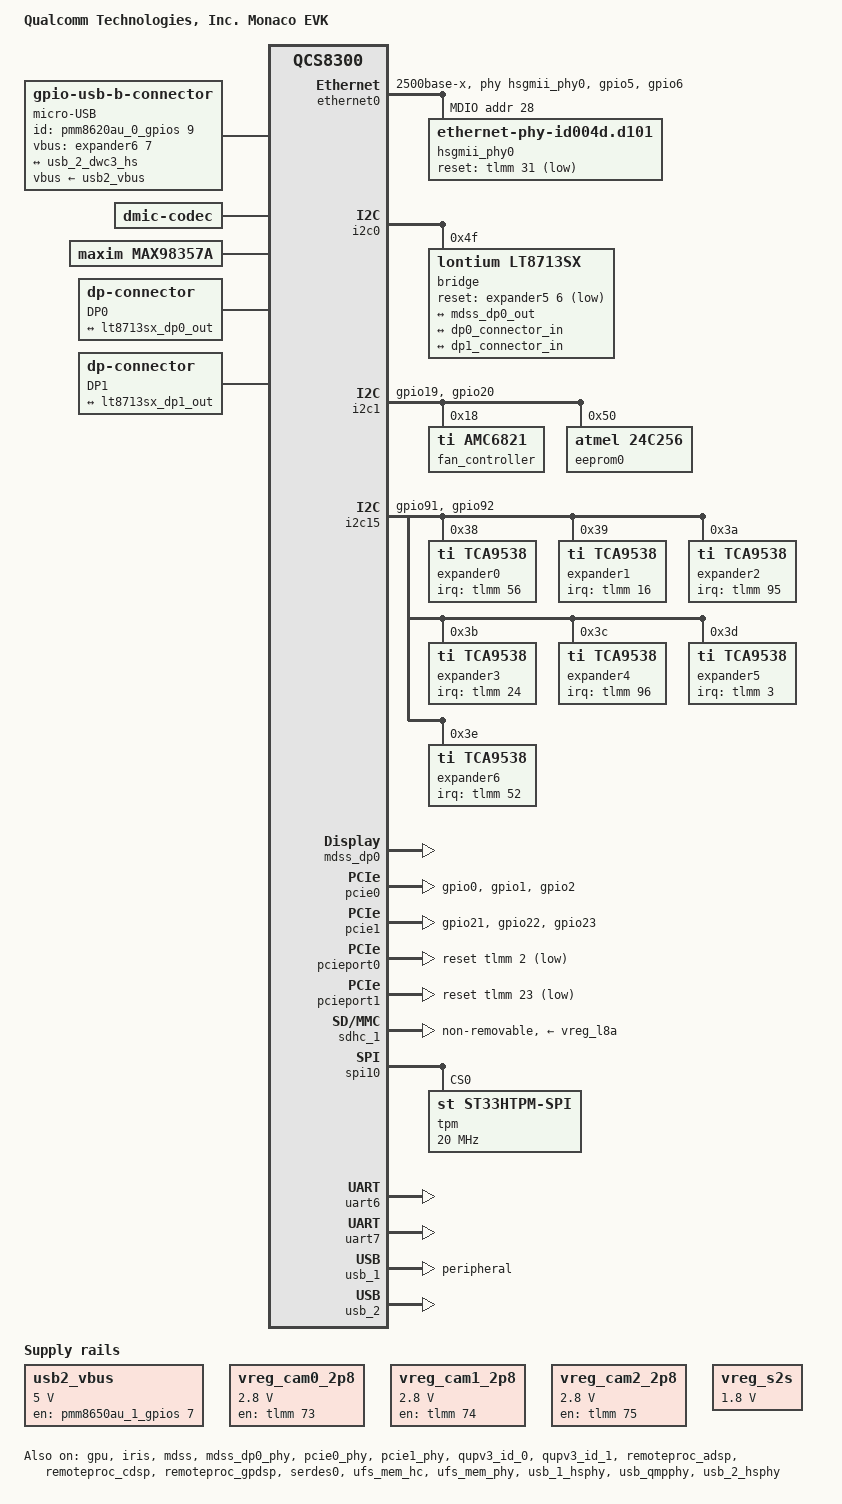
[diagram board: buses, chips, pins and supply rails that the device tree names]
// SPDX-License-Identifier: BSD-3-Clause
/*
 * Copyright (c) Qualcomm Technologies, Inc. and/or its subsidiaries.
 */

/dts-v1/;

#include <dt-bindings/gpio/gpio.h>
#include <dt-bindings/pwm/pwm.h>
#include <dt-bindings/sound/qcom,q6afe.h>
#include <dt-bindings/regulator/qcom,rpmh-regulator.h>

#include "monaco.dtsi"
#include "monaco-pmics.dtsi"

/ {
	model = "Qualcomm Technologies, Inc. Monaco EVK";
	compatible = "qcom,monaco-evk", "qcom,qcs8300";

	aliases {
		ethernet0 = &ethernet0;
		i2c1 = &i2c1;
		serial0 = &uart7;
		serial2 = &uart6;
	};

	chosen {
		stdout-path = "serial0:115200n8";
	};

	connector-2 {
		compatible = "gpio-usb-b-connector", "usb-b-connector";
		label = "micro-USB";
		type = "micro";

		id-gpios = <&pmm8620au_0_gpios 9 GPIO_ACTIVE_HIGH>;
		vbus-gpios = <&expander6 7 GPIO_ACTIVE_HIGH>;
		vbus-supply = <&usb2_vbus>;

		pinctrl-0 = <&usb2_id>;
		pinctrl-names = "default";

		port {
			usb2_con_hs_ep: endpoint {
				remote-endpoint = <&usb_2_dwc3_hs>;
			};
		};
	};

	dmic: audio-codec-0 {
		compatible = "dmic-codec";
		#sound-dai-cells = <0>;
		num-channels = <1>;
	};

	max98357a: audio-codec-1 {
		compatible = "maxim,max98357a";
		#sound-dai-cells = <0>;
	};

	dp-connector-0 {
		compatible = "dp-connector";
		label = "DP0";
		type = "mini";

		port {
			dp0_connector_in: endpoint {
				remote-endpoint = <&lt8713sx_dp0_out>;
			};
		};
	};

	dp-connector-1 {
		compatible = "dp-connector";
		label = "DP1";
		type = "mini";

		port {
			dp1_connector_in: endpoint {
				remote-endpoint = <&lt8713sx_dp1_out>;
			};
		};
	};

	usb2_vbus: regulator-usb2-vbus {
		compatible = "regulator-fixed";
		regulator-name = "usb2_vbus";
		gpio = <&pmm8650au_1_gpios 7 GPIO_ACTIVE_HIGH>;
		regulator-min-microvolt = <5000000>;
		regulator-max-microvolt = <5000000>;
		enable-active-high;
	};

	sound {
		compatible = "qcom,qcs8275-sndcard";
		model = "MONACO-EVK";

		pinctrl-0 = <&hs0_mi2s_active>, <&mi2s1_active>;
		pinctrl-names = "default";

		hs0-mi2s-playback-dai-link {
			link-name = "HS0 MI2S Playback";

			codec {
				sound-dai = <&max98357a>;
			};

			cpu {
				sound-dai = <&q6apmbedai PRIMARY_MI2S_RX>;
			};

			platform {
				sound-dai = <&q6apm>;
			};
		};

		sec-mi2s-capture-dai-link {
			link-name = "Secondary MI2S Capture";

			codec {
				sound-dai = <&dmic>;
			};

			cpu {
				sound-dai = <&q6apmbedai SECONDARY_MI2S_TX>;
			};

			platform {
				sound-dai = <&q6apm>;
			};
		};
	};

	vreg_cam0_2p8: vreg-cam0-2p8 {
		compatible = "regulator-fixed";
		regulator-name = "vreg_cam0_2p8";
		regulator-min-microvolt = <2800000>;
		regulator-max-microvolt = <2800000>;
		startup-delay-us = <10000>;

		gpio = <&tlmm 73 GPIO_ACTIVE_HIGH>;
		enable-active-high;

		pinctrl-0 = <&cam0_avdd_2v8_en_default>;
		pinctrl-names = "default";
	};

	vreg_cam1_2p8: vreg-cam1-2p8 {
		compatible = "regulator-fixed";
		regulator-name = "vreg_cam1_2p8";
		regulator-min-microvolt = <2800000>;
		regulator-max-microvolt = <2800000>;
		startup-delay-us = <10000>;

		gpio = <&tlmm 74 GPIO_ACTIVE_HIGH>;
		enable-active-high;

		pinctrl-0 = <&cam1_avdd_2v8_en_default>;
		pinctrl-names = "default";
	};

	vreg_cam2_2p8: vreg-cam2-2p8 {
		compatible = "regulator-fixed";
		regulator-name = "vreg_cam2_2p8";
		regulator-min-microvolt = <2800000>;
		regulator-max-microvolt = <2800000>;
		startup-delay-us = <10000>;

		gpio = <&tlmm 75 GPIO_ACTIVE_HIGH>;
		enable-active-high;

		pinctrl-0 = <&cam2_avdd_2v8_en_default>;
		pinctrl-names = "default";
	};

	/* This comes from a PMIC handled within the SAIL domain */
	vreg_s2s: vreg-s2s {
		compatible = "regulator-fixed";
		regulator-name = "vreg_s2s";

		regulator-min-microvolt = <1800000>;
		regulator-max-microvolt = <1800000>;
	};
};

&apps_rsc {
	regulators-0 {
		compatible = "qcom,pmm8654au-rpmh-regulators";
		qcom,pmic-id = "a";

		vreg_l3a: ldo3 {
			regulator-name = "vreg_l3a";
			regulator-min-microvolt = <1200000>;
			regulator-max-microvolt = <1200000>;
			regulator-initial-mode = <RPMH_REGULATOR_MODE_HPM>;
			regulator-allow-set-load;
			regulator-allowed-modes = <RPMH_REGULATOR_MODE_HPM>;
		};

		vreg_l4a: ldo4 {
			regulator-name = "vreg_l4a";
			regulator-min-microvolt = <880000>;
			regulator-max-microvolt = <912000>;
			regulator-initial-mode = <RPMH_REGULATOR_MODE_HPM>;
			regulator-allow-set-load;
			regulator-allowed-modes = <RPMH_REGULATOR_MODE_HPM>;
		};

		vreg_l5a: ldo5 {
			regulator-name = "vreg_l5a";
			regulator-min-microvolt = <1200000>;
			regulator-max-microvolt = <1200000>;
			regulator-initial-mode = <RPMH_REGULATOR_MODE_HPM>;
			regulator-allow-set-load;
			regulator-allowed-modes = <RPMH_REGULATOR_MODE_HPM>;
		};

		vreg_l6a: ldo6 {
			regulator-name = "vreg_l6a";
			regulator-min-microvolt = <880000>;
			regulator-max-microvolt = <912000>;
			regulator-initial-mode = <RPMH_REGULATOR_MODE_HPM>;
			regulator-allow-set-load;
			regulator-allowed-modes = <RPMH_REGULATOR_MODE_HPM>;
		};

		vreg_l7a: ldo7 {
			regulator-name = "vreg_l7a";
			regulator-min-microvolt = <880000>;
			regulator-max-microvolt = <912000>;
			regulator-initial-mode = <RPMH_REGULATOR_MODE_HPM>;
			regulator-allow-set-load;
			regulator-allowed-modes = <RPMH_REGULATOR_MODE_HPM>;
		};

		vreg_l8a: ldo8 {
			regulator-name = "vreg_l8a";
			regulator-min-microvolt = <2504000>;
			regulator-max-microvolt = <2960000>;
			regulator-initial-mode = <RPMH_REGULATOR_MODE_HPM>;
			regulator-allow-set-load;
			regulator-allowed-modes = <RPMH_REGULATOR_MODE_HPM>;
		};

		vreg_l9a: ldo9 {
			regulator-name = "vreg_l9a";
			regulator-min-microvolt = <2970000>;
			regulator-max-microvolt = <3072000>;
			regulator-initial-mode = <RPMH_REGULATOR_MODE_HPM>;
			regulator-allow-set-load;
			regulator-allowed-modes = <RPMH_REGULATOR_MODE_HPM>;
		};
	};

	regulators-1 {
		compatible = "qcom,pmm8654au-rpmh-regulators";
		qcom,pmic-id = "c";

		vreg_s5c: smps5 {
			regulator-name = "vreg_s5c";
			regulator-min-microvolt = <1104000>;
			regulator-max-microvolt = <1104000>;
			regulator-initial-mode = <RPMH_REGULATOR_MODE_HPM>;
		};

		vreg_l1c: ldo1 {
			regulator-name = "vreg_l1c";
			regulator-min-microvolt = <300000>;
			regulator-max-microvolt = <512000>;
			regulator-initial-mode = <RPMH_REGULATOR_MODE_HPM>;
			regulator-allow-set-load;
			regulator-allowed-modes = <RPMH_REGULATOR_MODE_HPM>;
		};

		vreg_l2c: ldo2 {
			regulator-name = "vreg_l2c";
			regulator-min-microvolt = <900000>;
			regulator-max-microvolt = <904000>;
			regulator-initial-mode = <RPMH_REGULATOR_MODE_HPM>;
			regulator-allow-set-load;
			regulator-allowed-modes = <RPMH_REGULATOR_MODE_HPM>;
		};

		vreg_l4c: ldo4 {
			regulator-name = "vreg_l4c";
			regulator-min-microvolt = <1200000>;
			regulator-max-microvolt = <1200000>;
			regulator-initial-mode = <RPMH_REGULATOR_MODE_HPM>;
			regulator-allow-set-load;
			regulator-allowed-modes = <RPMH_REGULATOR_MODE_HPM>;
		};

		vreg_l7c: ldo7 {
			regulator-name = "vreg_l7c";
			regulator-min-microvolt = <1800000>;
			regulator-max-microvolt = <1800000>;
			regulator-initial-mode = <RPMH_REGULATOR_MODE_HPM>;
			regulator-allow-set-load;
			regulator-allowed-modes = <RPMH_REGULATOR_MODE_HPM>;
		};

		vreg_l8c: ldo8 {
			regulator-name = "vreg_l8c";
			regulator-min-microvolt = <1800000>;
			regulator-max-microvolt = <1800000>;
			regulator-initial-mode = <RPMH_REGULATOR_MODE_HPM>;
			regulator-allow-set-load;
			regulator-allowed-modes = <RPMH_REGULATOR_MODE_HPM>;
		};

		vreg_l9c: ldo9 {
			regulator-name = "vreg_l9c";
			regulator-min-microvolt = <1800000>;
			regulator-max-microvolt = <1800000>;
			regulator-initial-mode = <RPMH_REGULATOR_MODE_HPM>;
			regulator-allow-set-load;
			regulator-allowed-modes = <RPMH_REGULATOR_MODE_HPM>;
		};
	};
};

&ethernet0 {
	phy-mode = "2500base-x";
	phy-handle = <&hsgmii_phy0>;

	pinctrl-0 = <&ethernet0_default>;
	pinctrl-names = "default";

	snps,mtl-rx-config = <&mtl_rx_setup>;
	snps,mtl-tx-config = <&mtl_tx_setup>;
	nvmem-cells = <&mac_addr0>;
	nvmem-cell-names = "mac-address";

	status = "okay";

	mdio {
		compatible = "snps,dwmac-mdio";
		#address-cells = <1>;
		#size-cells = <0>;

		hsgmii_phy0: ethernet-phy@1c {
			compatible = "ethernet-phy-id004d.d101";
			reg = <0x1c>;
			reset-gpios = <&tlmm 31 GPIO_ACTIVE_LOW>;
			reset-assert-us = <11000>;
			reset-deassert-us = <70000>;
		};
	};

	mtl_rx_setup: rx-queues-config {
		snps,rx-queues-to-use = <4>;
		snps,rx-sched-sp;

		queue0 {
			snps,dcb-algorithm;
			snps,map-to-dma-channel = <0x0>;
			snps,route-up;
			snps,priority = <0x1>;
		};

		queue1 {
			snps,dcb-algorithm;
			snps,map-to-dma-channel = <0x1>;
			snps,route-ptp;
		};

		queue2 {
			snps,avb-algorithm;
			snps,map-to-dma-channel = <0x2>;
			snps,route-avcp;
		};

		queue3 {
			snps,avb-algorithm;
			snps,map-to-dma-channel = <0x3>;
			snps,priority = <0xc>;
		};
	};

	mtl_tx_setup: tx-queues-config {
		snps,tx-queues-to-use = <4>;

		queue0 {
			snps,dcb-algorithm;
		};

		queue1 {
			snps,dcb-algorithm;
		};

		queue2 {
			snps,avb-algorithm;
			snps,send_slope = <0x1000>;
			snps,idle_slope = <0x1000>;
			snps,high_credit = <0x3e800>;
			snps,low_credit = <0xffc18000>;
		};

		queue3 {
			snps,avb-algorithm;
			snps,send_slope = <0x1000>;
			snps,idle_slope = <0x1000>;
			snps,high_credit = <0x3e800>;
			snps,low_credit = <0xffc18000>;
		};
	};
};

&gpi_dma0 {
	status = "okay";
};

&gpi_dma1 {
	status = "okay";
};

&gpu {
	status = "okay";
};

&gpu_zap_shader {
	firmware-name = "qcom/qcs8300/a623_zap.mbn";
};

&i2c0 {
	status = "okay";

	bridge@4f {
		compatible = "lontium,lt8713sx";
		reg = <0x4f>;
		reset-gpios = <&expander5 6 GPIO_ACTIVE_LOW>;

		ports {
			#address-cells = <1>;
			#size-cells = <0>;

			port@0 {
				reg = <0>;

				lt8713sx_dp_in: endpoint {
					remote-endpoint = <&mdss_dp0_out>;
				};
			};

			port@1 {
				reg = <1>;

				lt8713sx_dp0_out: endpoint {
					remote-endpoint = <&dp0_connector_in>;
				};
			};

			port@2 {
				reg = <2>;

				lt8713sx_dp1_out: endpoint {
					remote-endpoint = <&dp1_connector_in>;
				};
			};
		};
	};
};

&i2c1 {
	pinctrl-0 = <&qup_i2c1_default>;
	pinctrl-names = "default";

	status = "okay";

	fan_controller: fan@18 {
		compatible = "ti,amc6821";
		reg = <0x18>;
		#pwm-cells = <2>;

		fan {
			pwms = <&fan_controller 40000 PWM_POLARITY_INVERTED>;
		};
	};

	eeprom0: eeprom@50 {
		compatible = "atmel,24c256";
		reg = <0x50>;
		pagesize = <64>;

		nvmem-layout {
			compatible = "fixed-layout";
			#address-cells = <1>;
			#size-cells = <1>;

			mac_addr0: mac-addr@0 {
				reg = <0x0 0x6>;
			};
		};
	};
};

&i2c15 {
	pinctrl-0 = <&qup_i2c15_default>;
	pinctrl-names = "default";

	status = "okay";

	expander0: gpio@38 {
		compatible = "ti,tca9538";
		reg = <0x38>;
		#gpio-cells = <2>;
		gpio-controller;
		#interrupt-cells = <2>;
		interrupt-controller;
		interrupts-extended = <&tlmm 56 IRQ_TYPE_LEVEL_LOW>;
		pinctrl-0 = <&expander0_int>;
		pinctrl-names = "default";
	};

	expander1: gpio@39 {
		compatible = "ti,tca9538";
		reg = <0x39>;
		#gpio-cells = <2>;
		gpio-controller;
		#interrupt-cells = <2>;
		interrupt-controller;
		interrupts-extended = <&tlmm 16 IRQ_TYPE_LEVEL_LOW>;
		pinctrl-0 = <&expander1_int>;
		pinctrl-names = "default";
	};

	expander2: gpio@3a {
		compatible = "ti,tca9538";
		reg = <0x3a>;
		#gpio-cells = <2>;
		gpio-controller;
		#interrupt-cells = <2>;
		interrupt-controller;
		interrupts-extended = <&tlmm 95 IRQ_TYPE_LEVEL_LOW>;
		pinctrl-0 = <&expander2_int>;
		pinctrl-names = "default";
	};

	expander3: gpio@3b {
		compatible = "ti,tca9538";
		reg = <0x3b>;
		#gpio-cells = <2>;
		gpio-controller;
		#interrupt-cells = <2>;
		interrupt-controller;
		interrupts-extended = <&tlmm 24 IRQ_TYPE_LEVEL_LOW>;
		pinctrl-0 = <&expander3_int>;
		pinctrl-names = "default";
	};

	expander4: gpio@3c {
		compatible = "ti,tca9538";
		reg = <0x3c>;
		#gpio-cells = <2>;
		gpio-controller;
		#interrupt-cells = <2>;
		interrupt-controller;
		interrupts-extended = <&tlmm 96 IRQ_TYPE_LEVEL_LOW>;
		pinctrl-0 = <&expander4_int>;
		pinctrl-names = "default";
	};

	expander5: gpio@3d {
		compatible = "ti,tca9538";
		reg = <0x3d>;
		#gpio-cells = <2>;
		gpio-controller;
		#interrupt-cells = <2>;
		interrupt-controller;
		interrupts-extended = <&tlmm 3 IRQ_TYPE_LEVEL_LOW>;
		pinctrl-0 = <&expander5_int>;
		pinctrl-names = "default";
	};

	expander6: gpio@3e {
		compatible = "ti,tca9538";
		reg = <0x3e>;
		#gpio-cells = <2>;
		gpio-controller;
		#interrupt-cells = <2>;
		interrupt-controller;
		interrupts-extended = <&tlmm 52 IRQ_TYPE_LEVEL_LOW>;
		pinctrl-0 = <&expander6_int>;
		pinctrl-names = "default";
	};
};

&iris {
	status = "okay";
};

&mdss {
	status = "okay";
};

&mdss_dp0 {
	pinctrl-0 = <&dp_hot_plug_det>;
	pinctrl-names = "default";

	status = "okay";
};

&mdss_dp0_out {
	data-lanes = <0 1 2 3>;
	link-frequencies = /bits/ 64 <1620000000 2700000000 5400000000 8100000000>;
	remote-endpoint = <&lt8713sx_dp_in>;
};

&mdss_dp0_phy {
	vdda-phy-supply = <&vreg_l5a>;
	vdda-pll-supply = <&vreg_l4a>;

	status = "okay";
};

&pcie0 {
	pinctrl-0 = <&pcie0_default_state>;
	pinctrl-names = "default";

	status = "okay";
};

&pcie0_phy {
	vdda-phy-supply = <&vreg_l6a>;
	vdda-pll-supply = <&vreg_l5a>;

	status = "okay";
};

&pcie1 {
	pinctrl-0 = <&pcie1_default_state>;
	pinctrl-names = "default";

	status = "okay";
};

&pcie1_phy {
	vdda-phy-supply = <&vreg_l6a>;
	vdda-pll-supply = <&vreg_l5a>;

	status = "okay";
};

&pcieport0 {
	reset-gpios = <&tlmm 2 GPIO_ACTIVE_LOW>;
	wake-gpios = <&tlmm 0 GPIO_ACTIVE_HIGH>;
};

&pcieport1 {
	reset-gpios = <&tlmm 23 GPIO_ACTIVE_LOW>;
	wake-gpios = <&tlmm 21 GPIO_ACTIVE_HIGH>;
};

&pmm8620au_0_gpios {
	usb2_id: usb2-id-state {
		pins = "gpio9";
		function = "normal";
		input-enable;
		bias-pull-up;
		power-source = <0>;
	};
};

&qup_i2c0_data_clk {
	drive-strength = <2>;
	bias-pull-up;
};

&qupv3_id_0 {
	firmware-name = "qcom/qcs8300/qupv3fw.elf";
	status = "okay";
};

&qupv3_id_1 {
	firmware-name = "qcom/qcs8300/qupv3fw.elf";
	status = "okay";
};

&remoteproc_adsp {
	firmware-name = "qcom/qcs8300/adsp.mbn";

	status = "okay";
};

&remoteproc_cdsp {
	firmware-name = "qcom/qcs8300/cdsp0.mbn";

	status = "okay";
};

&remoteproc_gpdsp {
	firmware-name = "qcom/qcs8300/gpdsp0.mbn";

	status = "okay";
};

&sdhc_1 {
	vmmc-supply = <&vreg_l8a>;
	vqmmc-supply = <&vreg_s2s>;

	no-sd;
	no-sdio;
	non-removable;

	status = "okay";
};

&serdes0 {
	phy-supply = <&vreg_l4a>;

	status = "okay";
};

&spi10 {
	status = "okay";

	tpm@0 {
		compatible = "st,st33htpm-spi", "tcg,tpm_tis-spi";
		reg = <0>;
		spi-max-frequency = <20000000>;
	};
};

&tlmm {
	pcie0_default_state: pcie0-default-state {
		wake-pins {
			pins = "gpio0";
			function = "gpio";
			drive-strength = <2>;
			bias-pull-up;
		};

		clkreq-pins {
			pins = "gpio1";
			function = "pcie0_clkreq";
			drive-strength = <2>;
			bias-pull-up;
		};

		perst-pins {
			pins = "gpio2";
			function = "gpio";
			drive-strength = <2>;
			bias-pull-up;
		};
	};

	ethernet0_default: ethernet0-default-state {
		ethernet0_mdc: ethernet0-mdc-pins {
			pins = "gpio5";
			function = "emac0_mdc";
			drive-strength = <16>;
			bias-pull-up;
		};

		ethernet0_mdio: ethernet0-mdio-pins {
			pins = "gpio6";
			function = "emac0_mdio";
			drive-strength = <16>;
			bias-pull-up;
		};
	};

	expander5_int: expander5-int-state {
		pins = "gpio3";
		function = "gpio";
		bias-pull-up;
	};

	expander1_int: expander1-int-state {
		pins = "gpio16";
		function = "gpio";
		bias-pull-up;
	};

	qup_i2c1_default: qup-i2c1-state {
		pins = "gpio19", "gpio20";
		function = "qup0_se1";
		drive-strength = <2>;
		bias-pull-up;
	};

	pcie1_default_state: pcie1-default-state {
		wake-pins {
			pins = "gpio21";
			function = "gpio";
			drive-strength = <2>;
			bias-pull-up;
		};

		clkreq-pins {
			pins = "gpio22";
			function = "pcie1_clkreq";
			drive-strength = <2>;
			bias-pull-up;
		};

		perst-pins {
			pins = "gpio23";
			function = "gpio";
			drive-strength = <2>;
			bias-pull-up;
		};
	};

	expander3_int: expander3-int-state {
		pins = "gpio24";
		function = "gpio";
		bias-pull-up;
	};

	expander6_int:  expander6-int-state {
		pins = "gpio52";
		function = "gpio";
		bias-pull-up;
	};

	expander0_int: expander0-int-state {
		pins = "gpio56";
		function = "gpio";
		bias-pull-up;
	};

	cam0_avdd_2v8_en_default: cam0-avdd-2v8-en-state {
		pins = "gpio73";
		function = "gpio";
		drive-strength = <2>;
		bias-disable;
	};

	cam1_avdd_2v8_en_default: cam1-avdd-2v8-en-state {
		pins = "gpio74";
		function = "gpio";
		drive-strength = <2>;
		bias-disable;
	};

	cam2_avdd_2v8_en_default: cam2-avdd-2v8-en-state {
		pins = "gpio75";
		function = "gpio";
		drive-strength = <2>;
		bias-disable;
	};

	qup_i2c15_default: qup-i2c15-state {
		pins = "gpio91", "gpio92";
		function = "qup1_se7";
		drive-strength = <2>;
		bias-pull-up;
	};

	expander2_int: expander2-int-state {
		pins = "gpio95";
		function = "gpio";
		bias-pull-up;
	};

	expander4_int: expander4-int-state {
		pins = "gpio96";
		function = "gpio";
		bias-pull-up;
	};
};

&uart6 {
	status = "okay";
};

&uart7 {
	status = "okay";
};

&ufs_mem_hc {
	reset-gpios = <&tlmm 133 GPIO_ACTIVE_LOW>;
	vcc-supply = <&vreg_l8a>;
	vcc-max-microamp = <1100000>;
	vccq-supply = <&vreg_l4c>;
	vccq-max-microamp = <1200000>;

	status = "okay";
};

&ufs_mem_phy {
	vdda-phy-supply = <&vreg_l4a>;
	vdda-pll-supply = <&vreg_l5a>;

	status = "okay";
};

&usb_1 {
	dr_mode = "peripheral";

	status = "okay";
};

&usb_1_hsphy {
	vdda-pll-supply = <&vreg_l7a>;
	vdda18-supply = <&vreg_l7c>;
	vdda33-supply = <&vreg_l9a>;

	status = "okay";
};

&usb_qmpphy {
	vdda-phy-supply = <&vreg_l7a>;
	vdda-pll-supply = <&vreg_l5a>;

	status = "okay";
};

&usb_2 {
	status = "okay";
};

&usb_2_dwc3_hs {
	remote-endpoint = <&usb2_con_hs_ep>;
};

&usb_2_hsphy {
	vdda-pll-supply = <&vreg_l7a>;
	vdda18-supply = <&vreg_l7c>;
	vdda33-supply = <&vreg_l9a>;

	status = "okay";
};
